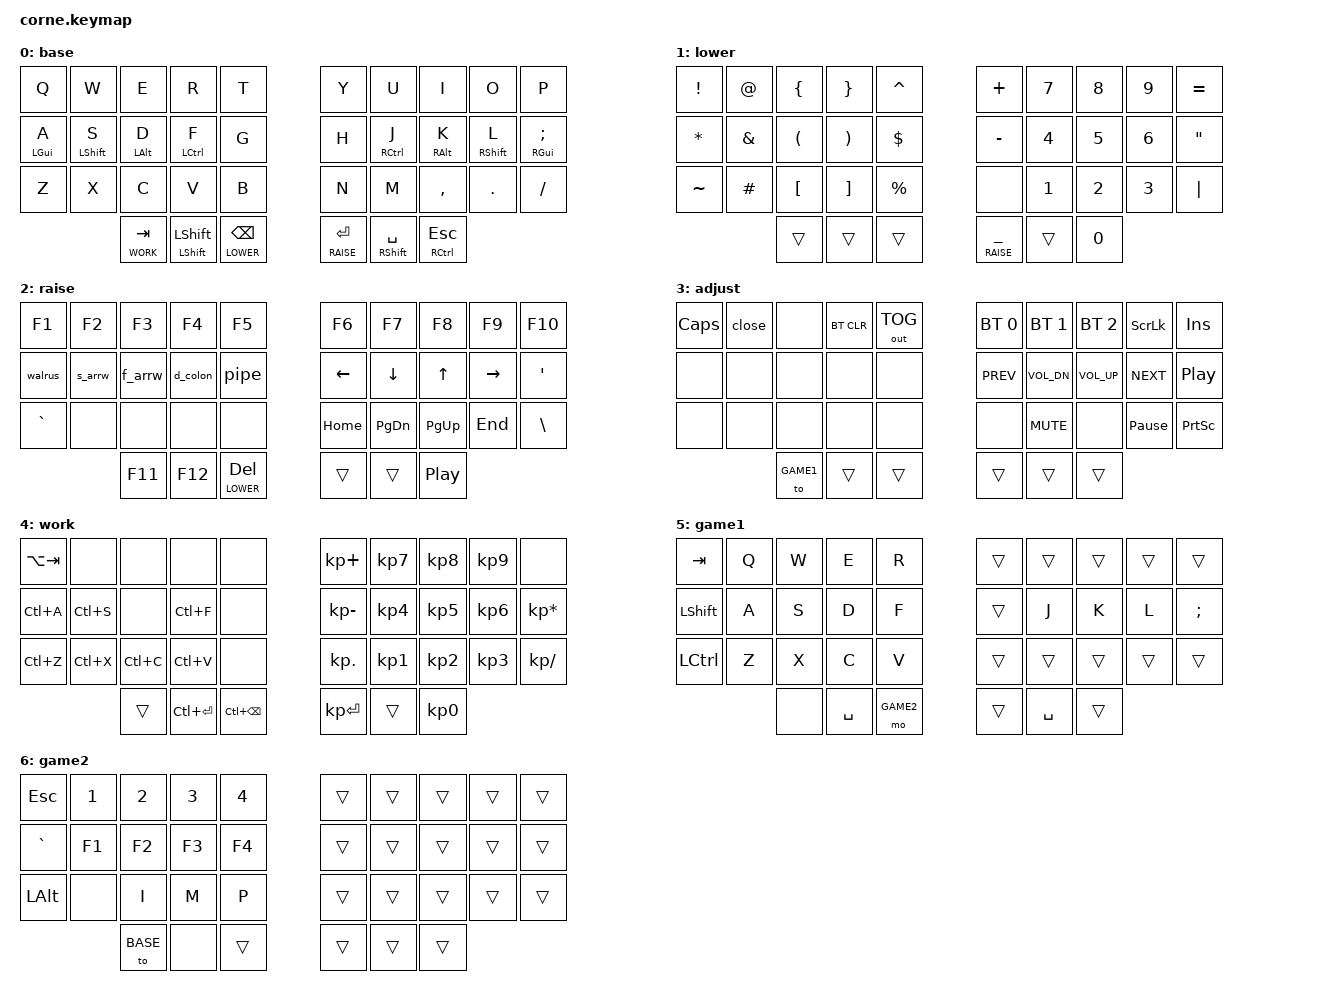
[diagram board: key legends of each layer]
#include <behaviors.dtsi>
#include <dt-bindings/zmk/bt.h>
#include <dt-bindings/zmk/keys.h>
#include <dt-bindings/zmk/outputs.h>

// layers

#define BASE      0
#define LOWER     1
#define RAISE     2
#define ADJUST    3
#define WORK      4
#define GAME1     5
#define GAME2     6

/ {
    // 5x3 Layout

    chosen { zmk,matrix_transform = &five_column_transform; };

    keymap {
        compatible = "zmk,keymap";

        base {
            bindings = <
  &kp Q        &kp W         &kp E         &kp R            &kp T             &kp Y          &kp U            &kp I          &kp O         &kp P
  &hml LGUI A  &hml LSHFT S  &hml LALT D   &hml LCTRL F     &kp G             &kp H          &hmr RCTRL J     &hmr RALT K    &hmr RSHFT L  &hmr RGUI SEMI
  &kp Z        &kp X         &kp C         &kp V            &kp B             &kp N          &kp M            &kp COMMA      &kp DOT       &kp FSLH
                             &lt WORK TAB  &ts LSHFT LSHFT  &lt LOWER BSPC    &lt RAISE RET  &tm RSHFT SPACE  &mt RCTRL ESC
            >;
        };

        lower {
            bindings = <
  &kp EXCL      &kp AT    &kp LBRC  &kp RBRC  &kp CARET    &kp PLUS              &kp N7  &kp N8  &kp N9  &kp EQUAL
  &kp ASTERISK  &kp AMPS  &kp LPAR  &kp RPAR  &kp DLLR     &kp MINUS             &kp N4  &kp N5  &kp N6  &kp DQT
  &kp TILDE     &kp HASH  &kp LBKT  &kp RBKT  &kp PRCNT    &none                 &kp N1  &kp N2  &kp N3  &kp PIPE
                          &trans    &trans    &trans       &lt RAISE UNDERSCORE  &trans  &kp N0
            >;
        };

        raise {
            bindings = <
  &kp F1     &kp F2   &kp F3   &kp F4    &kp F5           &kp F6    &kp F7     &kp F8     &kp F9     &kp F10
  &walrus    &s_arrw  &f_arrw  &d_colon  &pipe            &kp LEFT  &kp DOWN   &kp UP     &kp RIGHT  &kp SQT
  &kp GRAVE  &none    &none    &none     &none            &kp HOME  &kp PG_DN  &kp PG_UP  &kp END    &kp BSLH
                      &kp F11  &kp F12   &lt LOWER DEL    &trans    &trans     &kp C_PP
            >;
        };

        adjust {
            bindings = <
  &kp CAPS  &close  &none      &bt BT_CLR  &out OUT_TOG    &bt BT_SEL 0  &bt BT_SEL 1  &bt BT_SEL 2  &kp SLCK         &kp INS
  &none     &none   &none      &none       &none           &kp C_PREV    &kp C_VOL_DN  &kp C_VOL_UP  &kp C_NEXT       &kp C_PP
  &none     &none   &none      &none       &none           &none         &kp C_MUTE    &none         &kp PAUSE_BREAK  &kp PSCRN
                    &to GAME1  &trans      &trans          &trans        &trans        &trans
            >;
        };

        work {
            bindings = <
  &kp LA(TAB)  &none      &none      &none        &none           &kp KP_PLUS   &kp KP_N7  &kp KP_N8  &kp KP_N9  &none
  &kp LC(A)    &kp LC(S)  &none      &kp LC(F)    &none           &kp KP_MINUS  &kp KP_N4  &kp KP_N5  &kp KP_N6  &kp KP_MULTIPLY
  &kp LC(Z)    &kp LC(X)  &kp LC(C)  &kp LC(V)    &none           &kp KP_DOT    &kp KP_N1  &kp KP_N2  &kp KP_N3  &kp KP_DIVIDE
                          &trans     &kp LC(RET)  &kp LC(BSPC)    &kp KP_ENTER  &trans     &kp KP_N0
            >;
        };

        game1 {
            bindings = <
  &kp TAB    &kp Q  &kp W  &kp E      &kp R        &trans  &trans     &trans  &trans  &trans
  &kp LSHFT  &kp A  &kp S  &kp D      &kp F        &trans  &kp J      &kp K   &kp L   &kp SEMI
  &kp LCTRL  &kp Z  &kp X  &kp C      &kp V        &trans  &trans     &trans  &trans  &trans
                    &none  &kp SPACE  &mo GAME2    &trans  &kp SPACE  &trans
            >;
        };

        game2 {
            bindings = <
  &kp ESC    &kp N1  &kp N2    &kp N3  &kp N4    &trans  &trans  &trans  &trans  &trans
  &kp GRAVE  &kp F1  &kp F2    &kp F3  &kp F4    &trans  &trans  &trans  &trans  &trans
  &kp LALT   &none   &kp I     &kp M   &kp P     &trans  &trans  &trans  &trans  &trans
                     &to BASE  &none   &trans    &trans  &trans  &trans
            >;
        };
    };

    // Condition to enter the adjust layer (layer 3)

    conditional_layers {
        compatible = "zmk,conditional-layers";

        tri_layer {
            if-layers = <1 2>;
            then-layer = <3>;
        };
    };
};

/ {
    behaviors {
        ts: thumb_shift {
            compatible = "zmk,behavior-hold-tap";
            #binding-cells = <2>;
            bindings = <&kp>, <&sk>;

            flavor = "balanced";
            tapping-term-ms = <200>;
            quick-tap-ms = <175>;
            hold-while-undecided-linger;
        };

        hml: homerow_mods_left {
            compatible = "zmk,behavior-hold-tap";
            #binding-cells = <2>;
            bindings = <&kp>, <&kp>;

            flavor = "balanced";
            tapping-term-ms = <280>;
            quick-tap-ms = <175>;
            require-prior-idle-ms = <150>;
            hold-trigger-on-release;
            hold-trigger-key-positions = <5 15 25 33 34 35 6 7 8 9 16 17 18 19 26 27 28 29 35 30 31 32>;
        };

        hmr: homerow_mods_right {
            compatible = "zmk,behavior-hold-tap";
            #binding-cells = <2>;
            bindings = <&kp>, <&kp>;

            flavor = "balanced";
            tapping-term-ms = <280>;
            quick-tap-ms = <175>;
            require-prior-idle-ms = <150>;
            hold-trigger-on-release;
            hold-trigger-key-positions = <0 1 2 3 4 10 11 12 13 14 20 21 22 23 24 30 31 32 33 34 35>;
        };

        tm: thumb_mod {
            compatible = "zmk,behavior-hold-tap";
            #binding-cells = <2>;
            bindings = <&kp>, <&kp>;

            flavor = "balanced";
            tapping-term-ms = <200>;
            quick-tap-ms = <175>;
            display-name = "Thumb-Mod";
        };

        tl: thumb_layer {
            compatible = "zmk,behavior-hold-tap";
            #binding-cells = <2>;
            flavor = "balanced";
            tapping-term-ms = <175>;
            quick-tap-ms = <150>;
            bindings = <&mo>, <&kp>;

            display-name = "Thumb-Layer";
        };
    };
};

&soft_off {
    hold-time-ms = <1000>; // Only turn off it the key is held half a second or longer.
};

&lt {
    flavor = "hold-preferred";
    tapping-term-ms = <200>;
    quick-tap-ms = <175>;
};

&mt {
    flavor = "hold-preferred";
    tapping-term-ms = <200>;
    quick-tap-ms = <175>;
};

&sk {
    release-after-ms = <500>;
    quick-release;

    /delete-property/ ignore-modifiers;
};

/ {
    combos {
        compatible = "zmk,combos";

        combo_esc {
            timeout-ms = <30>;
            layers = <0>;
            key-positions = <0 1>;
            bindings = <&kp ESC>;
        };

        combo_bt_clr_all {
            timeout-ms = <50>;
            layers = <3>;
            key-positions = <5 6>;
            bindings = <&bt BT_CLR_ALL>;
        };

        combo_soft_off {
            timeout-ms = <50>;
            layers = <3>;
            key-positions = <10 19>;
            bindings = <&soft_off>;
        };

        combo_comma {
            timeout-ms = <30>;
            layers = <1>;
            key-positions = <27 34>;
            bindings = <&kp COMMA>;
        };

        combo_dot {
            timeout-ms = <30>;
            layers = <1>;
            key-positions = <28 34>;
            bindings = <&kp DOT>;
        };

        combo_colon {
            timeout-ms = <30>;
            layers = <1>;
            key-positions = <19 34>;
            bindings = <&kp COLON>;
        };

        combo_question {
            timeout-ms = <30>;
            layers = <1>;
            key-positions = <29 34>;
            bindings = <&kp QUESTION>;
        };

        combo_left_angle {
            timeout-ms = <30>;
            layers = <1>;
            key-positions = <27 33>;
            bindings = <&kp LT>;
        };

        combo_right_angle {
            timeout-ms = <30>;
            layers = <1>;
            key-positions = <28 33>;
            bindings = <&kp GT>;
        };
    };
};

/ {
    macros {
        d_colon: double_colon {
            display-name = "::";
            compatible = "zmk,behavior-macro";
            #binding-cells = <0>;
            bindings = <&macro_tap>, <&kp COLON>, <&macro_tap>, <&kp COLON>;
        };

        s_arrw: slim_arrow {
            display-name = "->";
            compatible = "zmk,behavior-macro";
            #binding-cells = <0>;
            bindings =
                <&macro_tap>,
                <&kp MINUS>,
                <&macro_tap>,
                <&kp GREATER_THAN>;
        };

        f_arrw: fat_arrow {
            display-name = "=>";
            compatible = "zmk,behavior-macro";
            #binding-cells = <0>;
            bindings =
                <&macro_tap>,
                <&kp EQUAL>,
                <&macro_tap>,
                <&kp GREATER_THAN>;
        };

        walrus: walrus {
            compatible = "zmk,behavior-macro";
            #binding-cells = <0>;
            bindings = <&macro_tap>, <&kp COLON>, <&macro_tap>, <&kp EQUAL>;

            label = "WALRUS";
        };

        pipe: pipe {
            compatible = "zmk,behavior-macro";
            #binding-cells = <0>;
            bindings =
                <&macro_tap>,
                <&kp PIPE>,
                <&macro_tap>,
                <&kp GREATER_THAN>;

            label = "PIPE";
        };

        close: macro_close {
            compatible = "zmk,behavior-macro";
            #binding-cells = <0>;
            bindings = <&macro_tap>, <&kp LC(W)>, <&macro_tap>, <&kp ENTER>;

            label = "MACRO_CLOSE";
        };
    };
};
